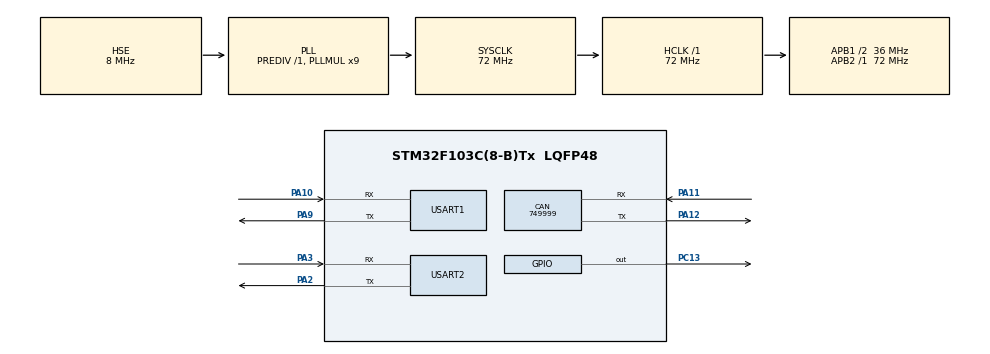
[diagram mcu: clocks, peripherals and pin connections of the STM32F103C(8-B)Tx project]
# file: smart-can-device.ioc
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CAN.CalculateBaudRate=749999
CAN.CalculateTimeBit=1333
CAN.CalculateTimeQuantum=444.44444444444446
Dma.Request0=USART1_RX
Dma.Request1=USART2_RX
Dma.USART1_RX.0.Direction=DMA_PERIPH_TO_MEMORY
Dma.USART1_RX.0.Instance=DMA1_Channel5
Dma.USART1_RX.0.MemDataAlignment=DMA_MDATAALIGN_BYTE
Dma.USART1_RX.0.MemInc=DMA_MINC_ENABLE
Dma.USART1_RX.0.Mode=DMA_NORMAL
Dma.USART1_RX.0.PeriphDataAlignment=DMA_PDATAALIGN_BYTE
Dma.USART1_RX.0.PeriphInc=DMA_PINC_DISABLE
Dma.USART1_RX.0.Priority=DMA_PRIORITY_LOW
Dma.USART2_RX.1.Direction=DMA_PERIPH_TO_MEMORY
Dma.USART2_RX.1.Instance=DMA1_Channel6
Dma.USART2_RX.1.MemDataAlignment=DMA_MDATAALIGN_BYTE
Dma.USART2_RX.1.MemInc=DMA_MINC_ENABLE
Dma.USART2_RX.1.Mode=DMA_NORMAL
Dma.USART2_RX.1.PeriphDataAlignment=DMA_PDATAALIGN_BYTE
Dma.USART2_RX.1.PeriphInc=DMA_PINC_DISABLE
Dma.USART2_RX.1.Priority=DMA_PRIORITY_LOW
FREERTOS.Tasks01=defaultTask,24,128,StartDefaultTask,Default,NULL,Dynamic,NULL,NULL
FREERTOS.configTOTAL_HEAP_SIZE=4096
FREERTOS.configUSE_NEWLIB_REENTRANT=1
Mcu.Family=STM32F1
Mcu.Name=STM32F103C(8-B)Tx
Mcu.Package=LQFP48
NVIC.DMA1_Channel5_IRQn=true\:5\:0\:false\:false\:true\:true\:false\:true\:true
NVIC.DMA1_Channel6_IRQn=true\:5\:0\:false\:false\:true\:true\:false\:true\:true
NVIC.PriorityGroup=NVIC_PRIORITYGROUP_4
NVIC.TIM4_IRQn=true\:15\:0\:false\:false\:true\:false\:false\:true\:true
NVIC.TimeBase=TIM4_IRQn
NVIC.TimeBaseIP=TIM4
NVIC.USART1_IRQn=true\:5\:0\:false\:false\:true\:true\:true\:true\:true
NVIC.USART2_IRQn=true\:5\:0\:false\:false\:true\:true\:true\:true\:true
PA10.Mode=Asynchronous
PA10.Signal=USART1_RX
PA11.Mode=CAN_Activate
PA11.Signal=CAN_RX
PA12.Mode=CAN_Activate
PA12.Signal=CAN_TX
PA13.Mode=Trace_Asynchronous_SW
PA13.Signal=SYS_JTMS-SWDIO
PA14.Mode=Trace_Asynchronous_SW
PA14.Signal=SYS_JTCK-SWCLK
PA2.Mode=Asynchronous
PA2.Signal=USART2_TX
PA3.Mode=Asynchronous
PA3.Signal=USART2_RX
PA9.Mode=Asynchronous
PA9.Signal=USART1_TX
PB3.Mode=Trace_Asynchronous_SW
PB3.Signal=SYS_JTDO-TRACESWO
PC13-TAMPER-RTC.Signal=GPIO_Output
PD0-OSC_IN.Mode=HSE-External-Oscillator
PD0-OSC_IN.Signal=RCC_OSC_IN
PD1-OSC_OUT.Mode=HSE-External-Oscillator
PD1-OSC_OUT.Signal=RCC_OSC_OUT
ProjectManager.HeapSize=0x200
ProjectManager.StackSize=0x400
ProjectManager.TargetToolchain=STM32CubeIDE
RCC.AHBFreq_Value=72000000
RCC.APB1CLKDivider=RCC_HCLK_DIV2
RCC.APB1Freq_Value=36000000
RCC.APB1TimFreq_Value=72000000
RCC.APB2Freq_Value=72000000
RCC.APB2TimFreq_Value=72000000
RCC.HCLKFreq_Value=72000000
RCC.PLLMUL=RCC_PLL_MUL9
RCC.PLLSourceVirtual=RCC_PLLSOURCE_HSE
RCC.SYSCLKFreq_VALUE=72000000
RCC.SYSCLKSource=RCC_SYSCLKSOURCE_PLLCLK
RCC.USBFreq_Value=72000000
USART1.VirtualMode=VM_ASYNC
USART2.VirtualMode=VM_ASYNC
VP_FREERTOS_VS_CMSIS_V2.Mode=CMSIS_V2
VP_SYS_VS_tim4.Mode=TIM4
board=custom

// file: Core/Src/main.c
/* USER CODE BEGIN Header */
/**
  ******************************************************************************
  * @file           : main.c
  * @brief          : Main program body
  ******************************************************************************
  * @attention
  *
  * Copyright (c) 2026 STMicroelectronics.
  * All rights reserved.
  *
  * This software is licensed under terms that can be found in the LICENSE file
  * in the root directory of this software component.
  * If no LICENSE file comes with this software, it is provided AS-IS.
  *
  ******************************************************************************
  */
/* USER CODE END Header */
#include "main.h"
#include "cmsis_os.h"
#include "can.h"
#include "dma.h"
#include "usart.h"
#include "gpio.h"

void SystemClock_Config(void);
void MX_FREERTOS_Init(void);

int main(void)
{

  /* MCU Configuration--------------------------------------------------------*/

  /* Reset of all peripherals, Initializes the Flash interface and the Systick. */
  HAL_Init();

  /* Configure the system clock */
  SystemClock_Config();

  /* USER CODE BEGIN SysInit */
  // uint32_t actual_cpu_freq = HAL_RCC_GetSysClockFreq();
  // uint32_t target_swo_freq = 2000000;

  // CoreDebug->DEMCR |= CoreDebug_DEMCR_TRCENA_Msk;
  // TPI->ACPR = (actual_cpu_freq / target_swo_freq) - 1;
  // TPI->SPPR = 2;
  // TPI->FFCR = 0;

  // ITM->TER |= 1UL;
  /* USER CODE END SysInit */

  /* Initialize all configured peripherals */
  MX_GPIO_Init();
  MX_DMA_Init();
  MX_CAN_Init();
  MX_USART1_UART_Init();
  MX_USART2_UART_Init();

  /* Init scheduler */
  osKernelInitialize();  /* Call init function for freertos objects (in cmsis_os2.c) */
  MX_FREERTOS_Init();

  /* Start scheduler */
  osKernelStart();

  /* We should never get here as control is now taken by the scheduler */

  /* Infinite loop */
  while (1)
  {

  }
}

void SystemClock_Config(void)
{
  RCC_OscInitTypeDef RCC_OscInitStruct = {0};
  RCC_ClkInitTypeDef RCC_ClkInitStruct = {0};

  /** Initializes the RCC Oscillators according to the specified parameters
  * in the RCC_OscInitTypeDef structure.
  */
  RCC_OscInitStruct.OscillatorType = RCC_OSCILLATORTYPE_HSE;
  RCC_OscInitStruct.HSEState = RCC_HSE_ON;
  RCC_OscInitStruct.HSEPredivValue = RCC_HSE_PREDIV_DIV1;
  RCC_OscInitStruct.HSIState = RCC_HSI_ON;
  RCC_OscInitStruct.PLL.PLLState = RCC_PLL_ON;
  RCC_OscInitStruct.PLL.PLLSource = RCC_PLLSOURCE_HSE;
  RCC_OscInitStruct.PLL.PLLMUL = RCC_PLL_MUL9;
  if (HAL_RCC_OscConfig(&RCC_OscInitStruct) != HAL_OK)
  {
    Error_Handler();
  }

  /** Initializes the CPU, AHB and APB buses clocks
  */
  RCC_ClkInitStruct.ClockType = RCC_CLOCKTYPE_HCLK|RCC_CLOCKTYPE_SYSCLK
                              |RCC_CLOCKTYPE_PCLK1|RCC_CLOCKTYPE_PCLK2;
  RCC_ClkInitStruct.SYSCLKSource = RCC_SYSCLKSOURCE_PLLCLK;
  RCC_ClkInitStruct.AHBCLKDivider = RCC_SYSCLK_DIV1;
  RCC_ClkInitStruct.APB1CLKDivider = RCC_HCLK_DIV2;
  RCC_ClkInitStruct.APB2CLKDivider = RCC_HCLK_DIV1;

  if (HAL_RCC_ClockConfig(&RCC_ClkInitStruct, FLASH_LATENCY_2) != HAL_OK)
  {
    Error_Handler();
  }
}

void HAL_TIM_PeriodElapsedCallback(TIM_HandleTypeDef *htim)
{
  if (htim->Instance == TIM4)
  {
    HAL_IncTick();
  }
}

void Error_Handler(void)
{
  __disable_irq();
  while (1)
  {
  }
}

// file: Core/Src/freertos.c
/* USER CODE BEGIN Header */
/**
  ******************************************************************************
  * File Name          : freertos.c
  * Description        : Code for freertos applications
  ******************************************************************************
  * @attention
  *
  * Copyright (c) 2026 STMicroelectronics.
  * All rights reserved.
  *
  * This software is licensed under terms that can be found in the LICENSE file
  * in the root directory of this software component.
  * If no LICENSE file comes with this software, it is provided AS-IS.
  *
  ******************************************************************************
  */
/* USER CODE END Header */

#include "FreeRTOS.h"
#include "task.h"
#include "main.h"
#include "cmsis_os.h"

/* USER CODE BEGIN Includes */
#include "printf.h"
//#include <stdio.h>
/* USER CODE END Includes */

/* USER CODE BEGIN Variables */
osThreadId_t canTaskHandle;
const osThreadAttr_t canTask_attributes = {
  .name = "canTask",
  .stack_size = 256 * 4,
  .priority = (osPriority_t) osPriorityNormal,
};

osThreadId_t lteTaskHandle;
const osThreadAttr_t lteTask_attributes = {
  .name = "lteTask",
  .stack_size = 768 * 4,
  .priority = (osPriority_t) osPriorityNormal,
};

/* USER CODE END Variables */
/* Definitions for defaultTask */
osThreadId_t defaultTaskHandle;
const osThreadAttr_t defaultTask_attributes = {
  .name = "defaultTask",
  .stack_size = 128 * 4,
  .priority = (osPriority_t) osPriorityNormal,
};

/* USER CODE BEGIN FunctionPrototypes */
extern void startLteTask(void*);
/* USER CODE END FunctionPrototypes */

void StartDefaultTask(void *argument);

void MX_FREERTOS_Init(void); /* (MISRA C 2004 rule 8.1) */

void MX_FREERTOS_Init(void) {

  /* Create the thread(s) */
  /* creation of defaultTask */
  defaultTaskHandle = osThreadNew(StartDefaultTask, NULL, &defaultTask_attributes);

  /* USER CODE BEGIN RTOS_THREADS */
  lteTaskHandle = osThreadNew(startLteTask, NULL, &lteTask_attributes);
  /* USER CODE END RTOS_THREADS */

}

void StartDefaultTask(void *argument)
{
  /* USER CODE BEGIN StartDefaultTask */

  /* Infinite loop */
  for(;;)
  {
    printf("-------- TEST --------\n");
    osDelay(5000);
  }
  /* USER CODE END StartDefaultTask */
}
